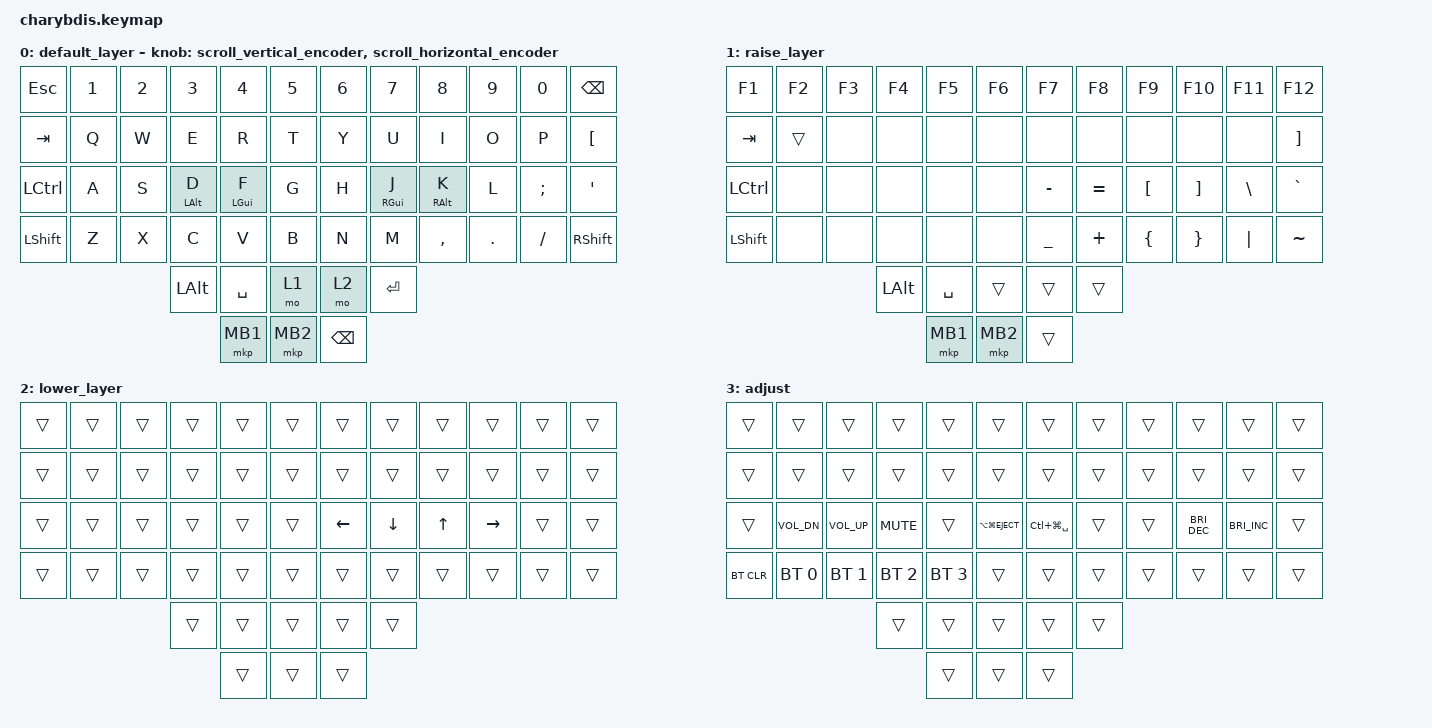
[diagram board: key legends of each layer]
#include <dt-bindings/zmk/mouse.h>
#include <input/processors.dtsi>
#include <zephyr/dt-bindings/input/input-event-codes.h>
#include <behaviors.dtsi>
#include <dt-bindings/zmk/bt.h>
#include <dt-bindings/zmk/keys.h>
#include <dt-bindings/zmk/pointing.h>

#define ZMK_POINTING_DEFAULT_MOVE_VAL 1000 // 600
#define ZMK_POINTING_DEFAULT_SCRL_VAL 12   // 10

&lt {
    tapping-term-ms = <200>;
    flavor = "balanced";
    quick-tap-ms = <150>;
};

&mmv_input_listener { input-processors = <&zip_xy_scaler 2 1>; };

&msc_input_listener { input-processors = <&zip_scroll_scaler 2 1>; };

&msc {
    acceleration-exponent = <0>;      // 0
    time-to-max-speed-ms = <100>;     // 300
    delay-ms = <0>;                   // 0
};

&mmv {
    time-to-max-speed-ms = <500>;
    acceleration-exponent = <1>;
    trigger-period-ms = <16>;
};

/ {
    // 上下滚动编码器行为

    scroll_vertical_encoder: scroll_vertical_encoder {
        compatible = "zmk,behavior-sensor-rotate";
        #sensor-binding-cells = <0>;
        bindings = <&msc SCRL_DOWN>, <&msc SCRL_UP>;

        tap-ms = <100>;
    };

    // 左右滚动编码器行为

    scroll_horizontal_encoder: scroll_horizontal_encoder {
        compatible = "zmk,behavior-sensor-rotate";
        #sensor-binding-cells = <0>;
        bindings = <&msc SCRL_LEFT>, <&msc SCRL_RIGHT>;

        tap-ms = <100>;
    };

    behaviors {
        pht: positional_hold_tap {
            compatible = "zmk,behavior-hold-tap";
            #binding-cells = <2>;
            flavor = "tap-preferred";
            tapping-term-ms = <400>;
            quick-tap-ms = <200>;
            require-prior-idle-ms = <125>;
            bindings = <&kp>, <&kp>;
        };
    };

    keymap {
        compatible = "zmk,keymap";

        default_layer {
            bindings = <
&kp ESC     &kp N1  &kp N2  &kp N3        &kp N4       &kp N5      &kp N6         &kp N7       &kp N8       &kp N9   &kp N0    &kp BACKSPACE
&kp TAB     &kp Q   &kp W   &kp E         &kp R        &kp T       &kp Y          &kp U        &kp I        &kp O    &kp P     &kp LEFT_BRACKET
&kp LCTRL   &kp A   &kp S   &pht LALT D   &pht LGUI F  &kp G       &kp H          &pht RGUI J  &pht RALT K  &kp L    &kp SEMI  &kp APOS
&kp LSHIFT  &kp Z   &kp X   &kp C         &kp V        &kp B       &kp N          &kp M        &kp COMMA    &kp DOT  &kp FSLH  &kp RSHIFT
                            &kp LEFT_ALT  &kp SPACE    &mo 1       &mo 2          &kp ENTER
                                          &mkp MB1     &mkp MB2    &kp BACKSPACE
            >;

            sensor-bindings =
                <&scroll_vertical_encoder>,
                // 编码器1：上下滚动,,,,,,,,,
                <&scroll_horizontal_encoder>;

            // 编码器2：左右滚动
        };

        raise_layer {
            bindings = <
&kp F1      &kp F2  &kp F3  &kp F4        &kp F5     &kp F6      &kp F7     &kp F8     &kp F9            &kp F10            &kp F11        &kp F12
&kp TAB     &trans  &none   &none         &none      &none       &none      &none      &none             &none              &none          &kp RIGHT_BRACKET
&kp LCTRL   &none   &none   &none         &none      &none       &kp MINUS  &kp EQUAL  &kp LEFT_BRACKET  &kp RIGHT_BRACKET  &kp BACKSLASH  &kp GRAVE
&kp LSHIFT  &none   &none   &none         &none      &none       &kp UNDER  &kp PLUS   &kp LEFT_BRACE    &kp RIGHT_BRACE    &kp PIPE       &kp TILDE
                            &kp LEFT_ALT  &kp SPACE  &trans      &trans     &trans
                                          &mkp MB1   &mkp MB2    &trans
            >;
        };

        lower_layer {
            bindings = <
&trans  &trans  &trans  &trans  &trans  &trans    &trans    &trans          &trans        &trans     &trans  &trans
&trans  &trans  &trans  &trans  &trans  &trans    &trans    &trans          &trans        &trans     &trans  &trans
&trans  &trans  &trans  &trans  &trans  &trans    &kp LEFT  &kp DOWN_ARROW  &kp UP_ARROW  &kp RIGHT  &trans  &trans
&trans  &trans  &trans  &trans  &trans  &trans    &trans    &trans          &trans        &trans     &trans  &trans
                        &trans  &trans  &trans    &trans    &trans
                                &trans  &trans    &trans
            >;
        };

        adjust {
            bindings = <
&trans      &trans        &trans        &trans        &trans        &trans                 &trans             &trans  &trans  &trans                &trans                &trans
&trans      &trans        &trans        &trans        &trans        &trans                 &trans             &trans  &trans  &trans                &trans                &trans
&trans      &kp C_VOL_DN  &kp C_VOL_UP  &kp C_MUTE    &trans        &kp LA(LG(C_EJECT))    &kp LC(LG(SPACE))  &trans  &trans  &kp C_BRIGHTNESS_DEC  &kp C_BRIGHTNESS_INC  &trans
&bt BT_CLR  &bt BT_SEL 0  &bt BT_SEL 1  &bt BT_SEL 2  &bt BT_SEL 3  &trans                 &trans             &trans  &trans  &trans                &trans                &trans
                                        &trans        &trans        &trans                 &trans             &trans
                                                      &trans        &trans                 &trans
            >;
        };
    };

    conditional_layers {
        compatible = "zmk,conditional-layers";

        Adjust {
            if-layers = <1 2>;
            then-layer = <3>;
        };
    };
};
